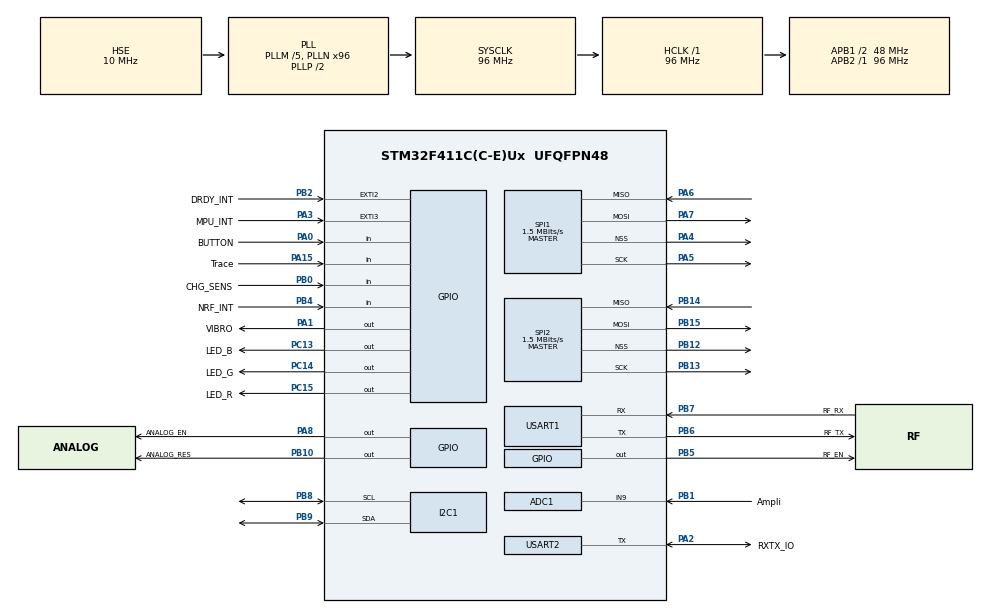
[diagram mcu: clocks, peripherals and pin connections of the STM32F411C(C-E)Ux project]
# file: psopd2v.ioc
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ADC1.Channel-0\#ChannelRegularConversion=ADC_CHANNEL_9
ADC1.ClockPrescaler=ADC_CLOCK_SYNC_PCLK_DIV8
ADC1.ContinuousConvMode=ENABLE
ADC1.DMAContinuousRequests=ENABLE
ADC1.DataAlign=ADC_DATAALIGN_RIGHT
ADC1.DiscontinuousConvMode=DISABLE
ADC1.EOCSelection=ADC_EOC_SEQ_CONV
ADC1.EnableAnalogWatchDog=false
ADC1.ExternalTrigConv=ADC_SOFTWARE_START
ADC1.ExternalTrigConvEdge=ADC_EXTERNALTRIGCONVEDGE_NONE
ADC1.InjNumberOfConversion=0
ADC1.NbrOfConversion=1
ADC1.NbrOfConversionFlag=1
ADC1.Rank-0\#ChannelRegularConversion=1
ADC1.Resolution=ADC_RESOLUTION_12B
ADC1.SamplingTime-0\#ChannelRegularConversion=ADC_SAMPLETIME_480CYCLES
ADC1.ScanConvMode=ENABLE
ADC1.master=1
Dma.ADC1.0.Direction=DMA_PERIPH_TO_MEMORY
Dma.ADC1.0.FIFOMode=DMA_FIFOMODE_DISABLE
Dma.ADC1.0.Instance=DMA2_Stream0
Dma.ADC1.0.MemDataAlignment=DMA_MDATAALIGN_HALFWORD
Dma.ADC1.0.MemInc=DMA_MINC_ENABLE
Dma.ADC1.0.Mode=DMA_CIRCULAR
Dma.ADC1.0.PeriphDataAlignment=DMA_PDATAALIGN_HALFWORD
Dma.ADC1.0.PeriphInc=DMA_PINC_DISABLE
Dma.ADC1.0.Priority=DMA_PRIORITY_LOW
Dma.Request0=ADC1
I2C1.I2C_Mode=I2C_Fast
Mcu.Family=STM32F4
Mcu.Name=STM32F411C(C-E)Ux
Mcu.Package=UFQFPN48
NVIC.ADC_IRQn=true\:0\:0\:false\:false\:true\:true
NVIC.DMA2_Stream0_IRQn=true\:0\:0\:false\:false\:true\:false
NVIC.EXTI2_IRQn=true\:0\:0\:false\:false\:true\:true
NVIC.FLASH_IRQn=true\:0\:0\:false\:false\:true\:true
NVIC.FPU_IRQn=true\:0\:0\:false\:false\:true\:true
NVIC.PriorityGroup=NVIC_PRIORITYGROUP_4
NVIC.RCC_IRQn=true\:0\:0\:false\:false\:true\:true
NVIC.SPI1_IRQn=true\:0\:0\:false\:false\:true\:true
NVIC.USART1_IRQn=true\:0\:0\:false\:false\:true\:true
NVIC.USART2_IRQn=true\:0\:0\:false\:false\:true\:true
PA0-WKUP.GPIO_Label=BUTTON
PA0-WKUP.Signal=GPIO_Input
PA1.GPIO_Label=VIBRO
PA1.GPIO_PuPd=GPIO_NOPULL
PA1.PinState=GPIO_PIN_RESET
PA1.Signal=GPIO_Output
PA10.Signal=USB_OTG_FS_ID
PA11.Signal=USB_OTG_FS_DM
PA12.Signal=USB_OTG_FS_DP
PA13.Mode=Serial_Wire
PA13.Signal=SYS_JTMS-SWDIO
PA14.Mode=Serial_Wire
PA14.Signal=SYS_JTCK-SWCLK
PA15.GPIO_Label=Trace
PA15.Signal=GPIO_Input
PA2.GPIO_Label=RXTX_IO
PA2.Mode=Half_duplex(single_wire_mode)
PA2.Signal=USART2_TX
PA3.GPIO_Label=MPU_INT
PA3.Signal=GPXTI3
PA4.Mode=NSS_Signal_Hard_Output
PA4.Signal=SPI1_NSS
PA5.Mode=Full_Duplex_Master
PA5.Signal=SPI1_SCK
PA6.Mode=Full_Duplex_Master
PA6.Signal=SPI1_MISO
PA7.Mode=Full_Duplex_Master
PA7.Signal=SPI1_MOSI
PA8.GPIO_Label=ANALOG_EN
PA8.GPIO_PuPd=GPIO_NOPULL
PA8.Signal=GPIO_Output
PA9.Signal=USB_OTG_FS_VBUS
PB0.GPIO_Label=CHG_SENS
PB0.Signal=GPIO_Input
PB1.GPIO_Label=Ampli
PB1.Signal=ADCx_IN9
PB10.GPIO_Label=ANALOG_RES
PB10.Signal=GPIO_Output
PB12.Mode=NSS_Signal_Hard_Output
PB12.Signal=SPI2_NSS
PB13.Mode=Full_Duplex_Master
PB13.Signal=SPI2_SCK
PB14.Mode=Full_Duplex_Master
PB14.Signal=SPI2_MISO
PB15.Mode=Full_Duplex_Master
PB15.Signal=SPI2_MOSI
PB2.GPIO_Label=DRDY_INT
PB2.Signal=GPXTI2
PB4.GPIO_Label=NRF_INT
PB4.Signal=GPIO_Input
PB5.GPIO_Label=RF_EN
PB5.Signal=GPIO_Output
PB6.GPIO_Label=RF_TX
PB6.Mode=Asynchronous
PB6.Signal=USART1_TX
PB7.GPIO_Label=RF_RX
PB7.Mode=Asynchronous
PB7.Signal=USART1_RX
PB8.Mode=I2C
PB8.Signal=I2C1_SCL
PB9.Mode=I2C
PB9.Signal=I2C1_SDA
PC13-ANTI_TAMP.GPIO_Label=LED_B
PC13-ANTI_TAMP.PinState=GPIO_PIN_SET
PC13-ANTI_TAMP.Signal=GPIO_Output
PC14-OSC32_IN.GPIO_Label=LED_G
PC14-OSC32_IN.PinState=GPIO_PIN_SET
PC14-OSC32_IN.Signal=GPIO_Output
PC15-OSC32_OUT.GPIO_Label=LED_R
PC15-OSC32_OUT.PinState=GPIO_PIN_SET
PC15-OSC32_OUT.Signal=GPIO_Output
PH0\ -\ OSC_IN.Mode=HSE-External-Oscillator
PH0\ -\ OSC_IN.Signal=RCC_OSC_IN
PH1\ -\ OSC_OUT.Mode=HSE-External-Oscillator
PH1\ -\ OSC_OUT.Signal=RCC_OSC_OUT
ProjectManager.HeapSize=0x400
ProjectManager.StackSize=0x200
ProjectManager.TargetToolchain=EWARM
RCC.48MHZClocksFreq_Value=48000000
RCC.AHBFreq_Value=96000000
RCC.APB1CLKDivider=RCC_HCLK_DIV2
RCC.APB1Freq_Value=48000000
RCC.APB1TimFreq_Value=96000000
RCC.APB2CLKDivider=RCC_HCLK_DIV1
RCC.APB2Freq_Value=96000000
RCC.APB2TimFreq_Value=96000000
RCC.CortexFreq_Value=96000000
RCC.Cortex_Div=SYSTICK_CLKSOURCE_HCLK
RCC.HCLKFreq_Value=96000000
RCC.HSE_VALUE=10000000
RCC.HSI_VALUE=16000000
RCC.LSE_VALUE=32768
RCC.PLLM=5
RCC.PLLN=96
RCC.PLLSourceVirtual=RCC_PLLSOURCE_HSE
RCC.PWR_Regulator_Voltage_Scale=PWR_REGULATOR_VOLTAGE_SCALE1
RCC.RCC_MCODiv1=RCC_MCODIV_1
RCC.RCC_RTC_Clock_Source_FROM_HSE=RCC_RTCCLKSOURCE_HSE_DIV2
RCC.SYSCLKFreq_VALUE=96000000
RCC.SYSCLKSource=RCC_SYSCLKSOURCE_PLLCLK
RCC.VCOOutputFreq_Value=192000000
SH.ADCx_IN9.0=ADC1_IN9,IN9
SPI1.BaudRatePrescaler=SPI_BAUDRATEPRESCALER_64
SPI1.CalculateBaudRate=1.5 MBits/s
SPI1.Direction=SPI_DIRECTION_2LINES
SPI1.Mode=SPI_MODE_MASTER
SPI1.VirtualNSS=VM_NSSHARD
SPI1.VirtualType=VM_MASTER
SPI2.BaudRatePrescaler=SPI_BAUDRATEPRESCALER_32
SPI2.CalculateBaudRate=1.5 MBits/s
SPI2.Direction=SPI_DIRECTION_2LINES
SPI2.Mode=SPI_MODE_MASTER
SPI2.VirtualNSS=VM_NSSHARD
SPI2.VirtualType=VM_MASTER
USART1.VirtualMode=VM_ASYNC
USART2.BaudRate=921600
USART2.VirtualMode=VM_ASYNC
board=psopd2v

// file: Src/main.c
/**
  ******************************************************************************
  * File Name          : main.c
  * Description        : Main program body
  ******************************************************************************
  ** This notice applies to any and all portions of this file
  * that are not between comment pairs USER CODE BEGIN and
  * USER CODE END. Other portions of this file, whether
  * inserted by the user or by software development tools
  * are owned by their respective copyright owners.
  *
  * COPYRIGHT(c) 2017 STMicroelectronics
  *
  * Redistribution and use in source and binary forms, with or without modification,
  * are permitted provided that the following conditions are met:
  *   1. Redistributions of source code must retain the above copyright notice,
  *      this list of conditions and the following disclaimer.
  *   2. Redistributions in binary form must reproduce the above copyright notice,
  *      this list of conditions and the following disclaimer in the documentation
  *      and/or other materials provided with the distribution.
  *   3. Neither the name of STMicroelectronics nor the names of its contributors
  *      may be used to endorse or promote products derived from this software
  *      without specific prior written permission.
  *
  * THIS SOFTWARE IS PROVIDED BY THE COPYRIGHT HOLDERS AND CONTRIBUTORS "AS IS"
  * AND ANY EXPRESS OR IMPLIED WARRANTIES, INCLUDING, BUT NOT LIMITED TO, THE
  * IMPLIED WARRANTIES OF MERCHANTABILITY AND FITNESS FOR A PARTICULAR PURPOSE ARE
  * DISCLAIMED. IN NO EVENT SHALL THE COPYRIGHT HOLDER OR CONTRIBUTORS BE LIABLE
  * FOR ANY DIRECT, INDIRECT, INCIDENTAL, SPECIAL, EXEMPLARY, OR CONSEQUENTIAL
  * DAMAGES (INCLUDING, BUT NOT LIMITED TO, PROCUREMENT OF SUBSTITUTE GOODS OR
  * SERVICES; LOSS OF USE, DATA, OR PROFITS; OR BUSINESS INTERRUPTION) HOWEVER
  * CAUSED AND ON ANY THEORY OF LIABILITY, WHETHER IN CONTRACT, STRICT LIABILITY,
  * OR TORT (INCLUDING NEGLIGENCE OR OTHERWISE) ARISING IN ANY WAY OUT OF THE USE
  * OF THIS SOFTWARE, EVEN IF ADVISED OF THE POSSIBILITY OF SUCH DAMAGE.
  *
  ******************************************************************************
  */

#include "main.h"
#include "stm32f4xx_hal.h"
#include "adc.h"
#include "dma.h"
#include "i2c.h"
#include "spi.h"
#include "usart.h"
#include "gpio.h"

/* USER CODE BEGIN Includes */
    #include "arm_math.h"
    #include "defines.h"
    #include "ad7779.h"
    #include "communication.h"
    #include "crc16.h"
    #include "dsp.h"

/* USER CODE END Includes */

/* USER CODE BEGIN PV */
/* Private variables ---------------------------------------------------------*/
    ad7779_dev          ad7779device;
    uint8_t i;
    int32_t ad7779_setup_result = 0;
    readout_packet_t packet;
    uint32_t odr_time_us;
    uint8_t drdy_int = 0;
    uint16_t ampli[8] = {0};

    //dsp
    float32_t dsp_res1[ELECTRODESNUMBER];
    float32_t dsp_res2[ELECTRODESNUMBER];

    extern uint32_t redled_counter;
    extern uint32_t greenled_counter;
    extern DMA_HandleTypeDef hdma_adc1;

/* USER CODE END PV */

void SystemClock_Config(void);

/* USER CODE BEGIN PFP */
/* Private function prototypes -----------------------------------------------*/

/* USER CODE END PFP */

int main(void)
{

  /* MCU Configuration----------------------------------------------------------*/

  /* Reset of all peripherals, Initializes the Flash interface and the Systick. */
  HAL_Init();

  /* Configure the system clock */
  SystemClock_Config();

  /* Initialize all configured peripherals */
  MX_GPIO_Init();
  MX_DMA_Init();
  MX_ADC1_Init();
  MX_USART2_UART_Init();
  MX_I2C1_Init();
  MX_SPI1_Init();
  MX_SPI2_Init();
  MX_USART1_UART_Init();

  /* USER CODE BEGIN 2 */
  HAL_ADC_Start_DMA(&hadc1, (uint32_t *)&ampli[0], 8);

  AD7779_VIBRO_DISABLE;
  RED_LED_DIS;
  GREEN_LED_DIS;
  BLUE_LED_DIS;

  /* На время инициализации АЦП включаем красный светодиод. */
  RED_LED_EN;
  AD7779_PWR_ENABLE;
  HAL_Delay(1000);
  AD7779_RESET_SET;
  HAL_Delay(100);
  AD7779_RESET_RESET;
  HAL_Delay(100);
  AD7779_RESET_SET;
  HAL_Delay(100);

  // Device Settings
ad7779device.spi_dev = AD7779_SPI;
ad7779device.ctrl_mode = AD7779_SPI_CTRL;
ad7779device.spi_crc_en = AD7779_DISABLE;
for (i = AD7779_CH0; i <= AD7779_CH7; i++) ad7779device.state[i] = AD7779_ENABLE;
for (i = AD7779_CH0; i <= AD7779_CH7; i++) ad7779device.gain[i] = AD7779_GAIN_1;

if (ODR == 1000)
{
  //Для прореживания в 2000 раз. Данные на выходе с частотой 1000 Гц.
  ad7779device.dec_rate_int = 0x07D0U;
} else
if (ODR == 500)
{
  //Для прореживания в 4000 раз. Данные на выходе с частотой 500 Гц.
  ad7779device.dec_rate_int = 0x0FA0U;
}
ad7779device.dec_rate_dec = 0;
ad7779device.ref_type = AD7779_INT_REF;
ad7779device.dclk_div = AD7779_DCLK_DIV_1;

/* Инициализация основных переменных */
odr_time_us = ( uint32_t ) ( 1000000.0f / ODR );
packet.prefix[ 0 ] = 'B';
packet.prefix[ 1 ] = 'L';
packet.length  = sizeof(payload_t);
packet.crc = 0;
packet.payload.cmd = 'M';

for (i = AD7779_REG_CH_CONFIG(0); i <= AD7779_REG_SRC_UPDATE; i++)
  {
    ad7779_spi_int_reg_read(&ad7779device, i, &ad7779device.cached_reg_val[i]);
  }

 /* Если инициализация прошла успешно выключаем красный светодиод.
    Включаем синий.
    Дергаем вибро 2 раза.
    Моргаем синим.
    Если сбой инициализации - красный остается гореть.
    Дальнейшее выполнение программы прекращается */
  ad7779_setup_result = ad7779_setup(&ad7779device);
  if (ad7779_setup_result == 0) RED_LED_DIS;
  else
  {
    for (;;);
  }

 AD7779_VIBRO_ENABLE;
 BLUE_LED_TOG;
 HAL_Delay(500);
 AD7779_VIBRO_DISABLE;
 BLUE_LED_TOG;
 HAL_Delay(500);
 AD7779_VIBRO_ENABLE;
 BLUE_LED_TOG;
 HAL_Delay(500);
 AD7779_VIBRO_DISABLE;
 BLUE_LED_DIS;

  HAL_Delay(100);
  ad7779_spi_int_reg_write(&ad7779device, AD7779_REG_GENERAL_USER_CONFIG_3, 0x10);
  HAL_Delay(100);
  //dsp
  dsp_init();

  /* USER CODE END 2 */

  /* Infinite loop */
  /* USER CODE BEGIN WHILE */
  while (1)
  {

     if (drdy_int)
  {
    /* Если данные от АЦП идут, горит зеленый светодиод.
    Если данные не идут зеленый светодиод выключен */
    GREEN_LED_EN;
    greenled_counter = 80;
    adc_read_sd(&ad7779device);
    //scale_redout(&ad7779device, &packet.payload.readout[0]);
    scale_redout(&ad7779device, dsp_res1);
    //dsp
    dsp_pocess();
    uint16_t adcscale = adc_scale();
    for (i=0; i<ELECTRODESNUMBER; i++)
    {
      packet.payload.readout[i] = adcscale * dsp_res2[i];
    }

    // Prepare Packet
    packet.payload.counter += odr_time_us;
    packet.crc = buildCRC(&packet);

    HAL_UART_Transmit( &AD7779_UART , ( uint8_t* )&packet , sizeof( packet )  , 2 );
    drdy_int = 0;
  }
    if (greenled_counter <= 0) GREEN_LED_DIS;

  /* USER CODE END WHILE */

  }

}

/** System Clock Configuration
*/
void SystemClock_Config(void)
{

  RCC_OscInitTypeDef RCC_OscInitStruct;
  RCC_ClkInitTypeDef RCC_ClkInitStruct;

    /**Configure the main internal regulator output voltage
    */
  __HAL_RCC_PWR_CLK_ENABLE();

  __HAL_PWR_VOLTAGESCALING_CONFIG(PWR_REGULATOR_VOLTAGE_SCALE1);

    /**Initializes the CPU, AHB and APB busses clocks
    */
  RCC_OscInitStruct.OscillatorType = RCC_OSCILLATORTYPE_HSE;
  RCC_OscInitStruct.HSEState = RCC_HSE_ON;
  RCC_OscInitStruct.PLL.PLLState = RCC_PLL_ON;
  RCC_OscInitStruct.PLL.PLLSource = RCC_PLLSOURCE_HSE;
  RCC_OscInitStruct.PLL.PLLM = 5;
  RCC_OscInitStruct.PLL.PLLN = 96;
  RCC_OscInitStruct.PLL.PLLP = RCC_PLLP_DIV2;
  RCC_OscInitStruct.PLL.PLLQ = 4;
  if (HAL_RCC_OscConfig(&RCC_OscInitStruct) != HAL_OK)
  {
    _Error_Handler(__FILE__, __LINE__);
  }

    /**Initializes the CPU, AHB and APB busses clocks
    */
  RCC_ClkInitStruct.ClockType = RCC_CLOCKTYPE_HCLK|RCC_CLOCKTYPE_SYSCLK
                              |RCC_CLOCKTYPE_PCLK1|RCC_CLOCKTYPE_PCLK2;
  RCC_ClkInitStruct.SYSCLKSource = RCC_SYSCLKSOURCE_PLLCLK;
  RCC_ClkInitStruct.AHBCLKDivider = RCC_SYSCLK_DIV1;
  RCC_ClkInitStruct.APB1CLKDivider = RCC_HCLK_DIV2;
  RCC_ClkInitStruct.APB2CLKDivider = RCC_HCLK_DIV1;

  if (HAL_RCC_ClockConfig(&RCC_ClkInitStruct, FLASH_LATENCY_3) != HAL_OK)
  {
    _Error_Handler(__FILE__, __LINE__);
  }

    /**Configure the Systick interrupt time
    */
  HAL_SYSTICK_Config(HAL_RCC_GetHCLKFreq()/1000);

    /**Configure the Systick
    */
  HAL_SYSTICK_CLKSourceConfig(SYSTICK_CLKSOURCE_HCLK);

  /* SysTick_IRQn interrupt configuration */
  HAL_NVIC_SetPriority(SysTick_IRQn, 0, 0);
}

void _Error_Handler(char * file, int line)
{
  while(1)
  {
  }
}

/************************ (C) COPYRIGHT STMicroelectronics *****END OF FILE****/
